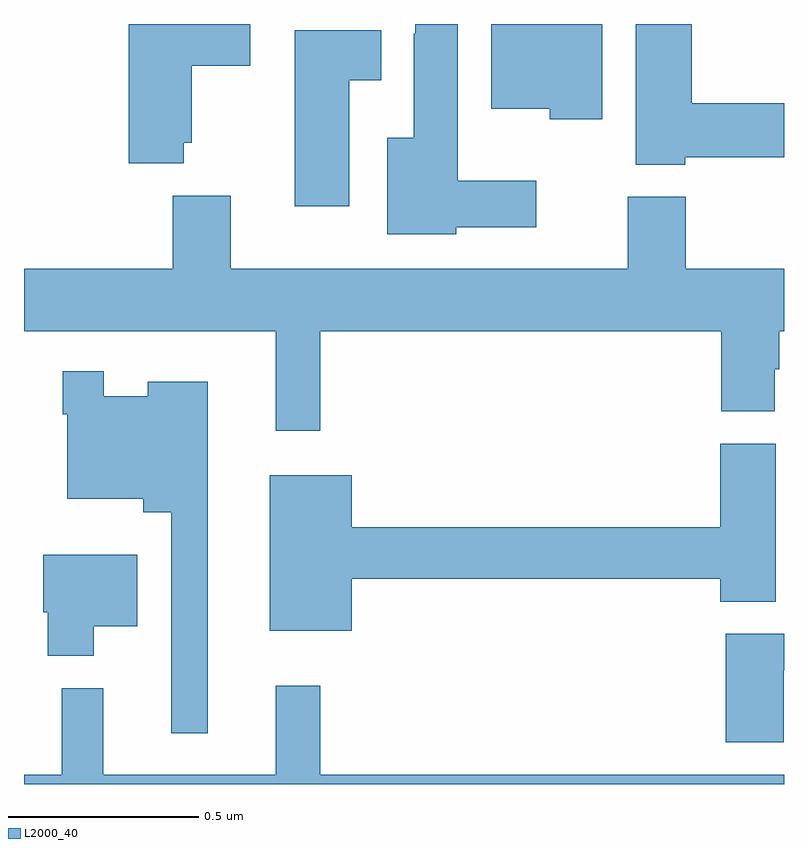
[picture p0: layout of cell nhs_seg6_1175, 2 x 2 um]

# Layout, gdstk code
import gdstk
lib = gdstk.Library(unit=1e-6, precision=1e-09)
def P(c, l, *ps):  # polygons
    for p in ps: c.add(gdstk.Polygon(p, *l))
L2000_40 = (2000, 40)

nhs_seg6_1175 = lib.new_cell('nhs_seg6_1175')
P(nhs_seg6_1175, L2000_40, [(127.137,924.965),(127.348,924.965),(127.348,925.087),(127.141,925.087),(127.141,925.5),(127.029,925.5),(127.029,925.475),(127.025,925.475),(127.025,925.201),(126.956,925.201),(126.956,924.947),(127.137,924.947)],
  [(126.42,925.187),(126.442,925.187),(126.442,925.39),(126.595,925.39),(126.595,925.5),(126.275,925.5),(126.275,925.133),(126.42,925.133)],
  [(127.74,925.15),(128,925.15),(128,925.292),(127.757,925.292),(127.757,925.5),(127.61,925.5),(127.61,925.13),(127.74,925.13)],
  [(127.522,925.5),(127.229,925.5),(127.229,925.277),(127.383,925.277),(127.383,925.25),(127.522,925.25)],
  [(126.856,925.352),(126.94,925.352),(126.94,925.483),(126.713,925.483),(126.713,925.02),(126.856,925.02)],
  [(126.779,924.692),(127.835,924.692),(127.835,924.481),(127.975,924.481),(127.975,924.591),(127.988,924.591),(127.988,924.692),(128,924.692),(128,924.856),(127.742,924.856),(127.742,925.045),(127.589,925.045),(127.589,924.856),(126.544,924.856),(126.544,925.048),(126.392,925.048),(126.392,924.856),(126,924.856),(126,924.692),(126.662,924.692),(126.662,924.429),(126.779,924.429)],
  [(126.484,924.559),(126.326,924.559),(126.326,924.52),(126.21,924.52),(126.21,924.586),(126.102,924.586),(126.102,924.473),(126.114,924.473),(126.114,924.251),(126.314,924.251),(126.314,924.215),(126.387,924.215),(126.387,923.634),(126.484,923.634)],
  [(126.862,924.04),(127.832,924.04),(127.832,923.98),(127.978,923.98),(127.978,924.396),(127.832,924.396),(127.832,924.176),(126.862,924.176),(126.862,924.313),(126.647,924.313),(126.647,923.903),(126.862,923.903)],
  [(126.184,923.915),(126.298,923.915),(126.298,924.103),(126.05,924.103),(126.05,923.952),(126.062,923.952),(126.062,923.837),(126.184,923.837)],
  [(127.999,923.799),(128,923.799),(128,923.895),(127.847,923.895),(127.847,923.61),(127.999,923.61)],
  [(128,923.524),(126.779,923.524),(126.779,923.758),(126.662,923.758),(126.662,923.524),(126.209,923.524),(126.209,923.752),(126.099,923.752),(126.099,923.524),(126,923.524),(126,923.5),(128,923.5)])

lib.write_gds('nhs_seg6_1175.gds')
